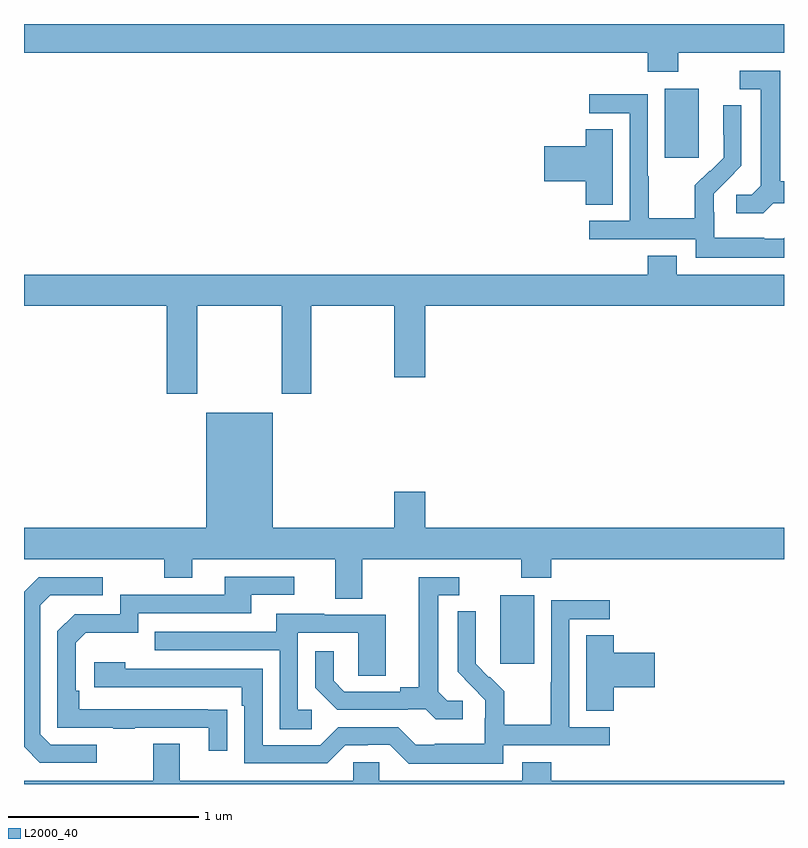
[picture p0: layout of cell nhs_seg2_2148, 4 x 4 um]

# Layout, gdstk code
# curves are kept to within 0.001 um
import gdstk
lib = gdstk.Library(unit=1e-6, precision=1e-09)
def R(c, l, rs):  # rectangles x0, y0, x1, y1
    for r in rs: c.add(gdstk.rectangle(r[:2], r[2:], *l))
def P(c, l, *ps):  # polygons
    for p in ps: c.add(gdstk.Polygon(p, *l))
L2000_40 = (2000, 40)

nhs_seg2_2148 = lib.new_cell('nhs_seg2_2148')
R(nhs_seg2_2148, L2000_40, [(225.506,632.433,225.685,632.794), (226.373,635.097,226.552,635.458)])
P(nhs_seg2_2148, L2000_40, [(226.443,635.648),(227,635.648),(227,635.8),(223,635.8),(223,635.648),(226.283,635.648),(226.283,635.549),(226.443,635.549)],
  [(226.944,634.857),(227,634.857),(227,634.973),(226.981,634.973),(226.981,635.553),(226.767,635.553),(226.767,635.457),(226.877,635.457),(226.877,634.949),(226.83,634.902),(226.749,634.902),(226.749,634.805),(226.892,634.805)],
  [(227,634.676),(226.995,634.671),(226.895,634.671),(226.895,634.675),(226.632,634.675),(226.632,634.809),(226.63,634.809),(226.63,634.906),(226.776,635.054),(226.776,635.372),(226.68,635.372),(226.68,635.218),(226.682,635.218),(226.682,635.096),(226.611,635.025),(226.608,635.028),(226.531,634.951),(226.531,634.777),(226.287,634.777),(226.287,635),(226.284,635),(226.284,635.43),(225.975,635.43),(225.975,635.331),(226.188,635.331),(226.188,634.764),(225.975,634.764),(225.975,634.668),(226.536,634.668),(226.536,634.571),(227,634.571)],
  [(226.099,635.246),(225.956,635.246),(225.956,635.156),(225.738,635.156),(225.738,634.973),(225.956,634.973),(225.956,634.849),(226.099,634.849)],
  [(223.911,634.316),(224.356,634.316),(224.356,633.855),(224.511,633.855),(224.511,634.316),(224.948,634.316),(224.948,633.942),(225.112,633.942),(225.112,634.316),(227,634.316),(227,634.48),(226.435,634.48),(226.435,634.579),(226.283,634.579),(226.283,634.48),(223,634.48),(223,634.316),(223.751,634.316),(223.751,633.855),(223.911,633.855)],
  [(224.779,632.984),(225.616,632.984),(225.616,632.885),(225.776,632.885),(225.776,632.984),(227,632.984),(227,633.148),(225.112,633.148),(225.112,633.337),(224.948,633.337),(224.948,633.148),(224.308,633.148),(224.308,633.754),(223.958,633.754),(223.958,633.148),(223,633.148),(223,632.984),(223.738,632.984),(223.738,632.885),(223.885,632.885),(223.885,632.984),(224.639,632.984),(224.639,632.776),(224.779,632.776)],
  [(224.069,632.192),(223.292,632.193),(223.292,632.29),(223.272,632.29),(223.272,632.544),(223.325,632.597),(223.602,632.597),(223.602,632.7),(224.197,632.7),(224.197,632.796),(224.422,632.796),(224.422,632.892),(224.057,632.892),(224.057,632.796),(223.506,632.796),(223.506,632.694),(223.266,632.694),(223.176,632.604),(223.176,632.097),(223.471,632.097),(223.471,632.092),(223.583,632.092),(223.583,632.097),(223.973,632.097),(223.973,631.974),(224.069,631.974)],
  [(225.31,632.238),(225.228,632.238),(225.181,632.285),(225.181,632.793),(225.292,632.793),(225.292,632.889),(225.077,632.889),(225.077,632.309),(224.981,632.309),(224.981,632.286),(224.686,632.286),(224.629,632.343),(224.629,632.5),(224.532,632.5),(224.532,632.306),(224.648,632.19),(225.02,632.19),(225.02,632.193),(225.114,632.193),(225.166,632.141),(225.31,632.141)],
  [(223.384,632.007),(223.14,632.007),(223.086,632.061),(223.086,632.742),(223.137,632.793),(223.414,632.793),(223.414,632.889),(223.077,632.889),(223,632.812),(223,631.995),(223.083,631.911),(223.384,631.911)],
  [(225.522,632.004),(226.084,632.004),(226.084,632.1),(225.87,632.1),(225.87,632.667),(226.084,632.667),(226.084,632.766),(225.774,632.766),(225.774,632.336),(225.772,632.336),(225.772,632.113),(225.527,632.113),(225.527,632.287),(225.45,632.364),(225.447,632.361),(225.377,632.432),(225.378,632.708),(225.282,632.708),(225.282,632.39),(225.428,632.242),(225.428,632.145),(225.426,632.145),(225.426,632.011),(225.163,632.011),(225.163,632.007),(225.063,632.007),(224.97,632.1),(224.655,632.1),(224.559,632.004),(224.256,632.004),(224.256,632.406),(223.532,632.406),(223.532,632.44),(223.371,632.44),(223.371,632.31),(224.147,632.31),(224.147,632.213),(224.16,632.213),(224.16,631.908),(224.595,631.908),(224.691,632.004),(224.81,632.004),(224.81,632.007),(224.925,632.007),(225.025,631.907),(225.522,631.907)],
  [(224.515,632.19),(224.442,632.19),(224.442,632.595),(224.76,632.595),(224.76,632.371),(224.905,632.371),(224.905,632.691),(224.581,632.691),(224.581,632.695),(224.327,632.695),(224.327,632.601),(223.687,632.601),(223.687,632.505),(224.346,632.505),(224.346,632.089),(224.515,632.089)],
  [(226.103,632.309),(226.321,632.309),(226.321,632.492),(226.103,632.492),(226.103,632.582),(225.959,632.582),(225.959,632.185),(226.103,632.185)],
  [(227,631.816),(225.776,631.816),(225.776,631.915),(225.623,631.915),(225.623,631.816),(224.871,631.816),(224.871,631.914),(224.733,631.914),(224.733,631.816),(223.819,631.816),(223.819,632.011),(223.679,632.011),(223.679,631.816),(223,631.816),(223,631.8),(227,631.8)])

lib.write_gds('nhs_seg2_2148.gds')
